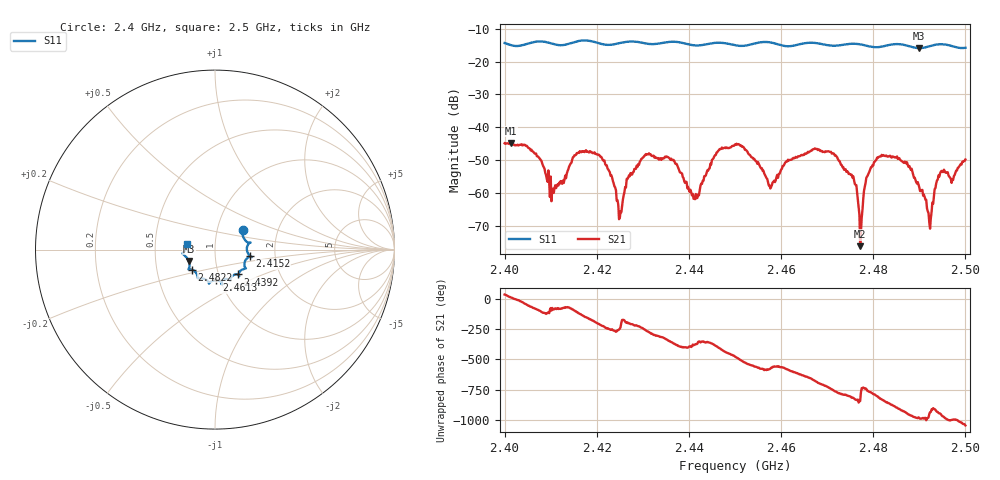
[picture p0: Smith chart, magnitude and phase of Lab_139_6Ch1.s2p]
# Hz S RI R 50
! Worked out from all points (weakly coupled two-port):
!   601 points, 2.4 GHz to 2.5 GHz, reference 50 ohm
!   highest |S21| = -44.76 dB at 2.4013 GHz (marker M1); lowest = -76.1 dB at 2.4772 GHz (marker M2)
!   lowest |S11| = -15.9 dB at 2.49 GHz (marker M3), VSWR 1.38, Z = 36.9 - j4.81 ohm
!   |S11| at or under -10 dB: start of sweep to end of sweep
!   S12 and S22 are empty: the file has one direction only
!   S11 on the Smith chart (normalised r, x): 2.4 GHz: 1.33, +0.31; 2.4152 GHz: 1.48, -0.11; 2.4392 GHz: 1.23, -0.35; 2.4613 GHz: 0.96, -0.34; 2.4822 GHz: 0.76, -0.17; 2.5 GHz: 0.73, +0.05
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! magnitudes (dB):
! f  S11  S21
! 2.4 GHz  -14.4  -44.9
! 2.4013 GHz  -15.0  -44.8
! 2.4103 GHz  -14.6  -59.0
! 2.4152 GHz  -14.1  -48.5
! 2.4167 GHz  -13.6  -47.6
! 2.4212 GHz  -14.7  -49.5
! 2.425 GHz  -14.4  -67.5
! 2.4333 GHz  -14.5  -49.3
! 2.4392 GHz  -14.5  -56.9
! 2.4417 GHz  -15.1  -61.6
! 2.45 GHz  -15.0  -45.2
! 2.4577 GHz  -14.2  -58.6
! 2.4613 GHz  -15.3  -50.4
! 2.4667 GHz  -14.3  -47.1
! 2.4753 GHz  -14.6  -54.4
! 2.4772 GHz  -14.8  -76.1
! 2.4822 GHz  -15.4  -48.4
! 2.4833 GHz  -15.0  -48.8
! 2.49 GHz  -15.9  -58.2
! 2.4922 GHz  -15.4  -69.0
! 2.4945 GHz  -14.7  -54.0
! 2.5 GHz  -15.8  -49.8
